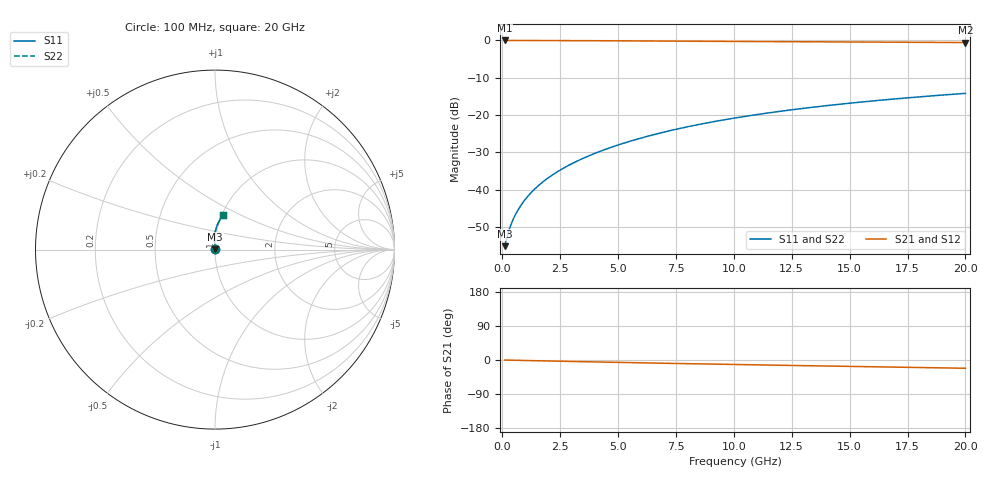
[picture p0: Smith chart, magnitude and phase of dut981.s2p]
! Touchstone file exported from HFSS 2024.1.0
!  File:  C:/UserFiles/LocalFiles/RDL_TSV_Batchsim/temp_RDL_bottom_981_1779943525.aedt
!  Generated:  12:47:56 PM May 28, 2026
!  Design:  RDL_bottom
!  Project:  temp_RDL_bottom_981_1779943525
!  Setup:  Setup1
!  Solution:  Sweep
! Variables:
!  dtsv = 10.80580581um
!  hbump = 3um
!  htsv = 96.15um
!  ldown = 297.32um
!  lrdl = 100um
!  p = 40
!  p1 = 51.59um
!  rhole = 1um
!  t = 450um
!  tdown = 2.92um
!  trdl = 3.915915916um
!  wdown = 29.42um
!  wrdl = 20um
# GHz S MA R 50.000000
! Terminal data exported
! Port[1] = RDL1_T1
! Port[2] = RDL1_T2
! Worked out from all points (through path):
!   200 points, 100 MHz to 20 GHz, reference 50 ohm
!   highest |S21| = -0.01 dB at 100 MHz (marker M1); lowest = -0.6 dB at 20 GHz (marker M2)
!   group delay of S21, straight-line fit = 2.98 ps
!   lowest |S11| = -55.1 dB at 100 MHz (marker M3), VSWR 1.00, Z = 50.2 + j0.0848 ohm
!   |S11| at or under -10 dB: start of sweep to end of sweep
!   |S22| runs from -55.1 to -14.2 dB; largest |S21 - S12| = 3.2e-15
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0.1  0.001758 28.8  0.9984 -0.1  0.9984 -0.1  0.001758 28.8
! Gamma 0 0 0 0
! Port Impedance 50 0 50 0
0.2  0.00231 45.5  0.9983 -0.3  0.9983 -0.3  0.00231 45.5
0.3  0.00294 54.6  0.9982 -0.4  0.9982 -0.4  0.00294 54.6
0.4  0.003578 60.4  0.9981 -0.5  0.9981 -0.5  0.003578 60.4
0.5  0.004215 64.6  0.998 -0.7  0.998 -0.7  0.004215 64.6
0.6  0.004855 67.9  0.9979 -0.8  0.9979 -0.8  0.004855 67.9
0.8  0.006154 72.8  0.9977 -1.1  0.9977 -1.1  0.006154 72.8
1  0.007484 76.4  0.9974 -1.3  0.9974 -1.3  0.007484 76.4
1.2  0.008846 79.2  0.9972 -1.6  0.9972 -1.6  0.008846 79.2
1.7  0.01237 83.8  0.9964 -2.2  0.9964 -2.2  0.01237 83.8
2.2  0.01607 86.8  0.9955 -2.9  0.9955 -2.9  0.01607 86.8
2.8  0.02072 89.3  0.9941 -3.6  0.9941 -3.6  0.02072 89.3
3.5  0.02645 91.1  0.9921 -4.5  0.9921 -4.5  0.02644 91.1
4.2  0.0325 92.3  0.9899 -5.4  0.9899 -5.4  0.0325 92.3
5  0.03979 93.0  0.9872 -6.3  0.9872 -6.3  0.03979 93.0
6.8  0.05738 92.9  0.9806 -8.4  0.9806 -8.4  0.05737 92.9
8.4  0.07395 91.8  0.9746 -10.1  0.9746 -10.1  0.07394 91.8
10.1  0.09203 90.0  0.9685 -11.9  0.9685 -11.9  0.09202 90.0
11.7  0.1092 88.0  0.9629 -13.6  0.9629 -13.6  0.1092 88.0
13.4  0.1274 85.8  0.9573 -15.3  0.9573 -15.3  0.1274 85.8
16.7  0.162 81.5  0.9468 -18.6  0.9468 -18.6  0.162 81.5
20  0.1955 77.4  0.9365 -21.8  0.9365 -21.8  0.1954 77.4
